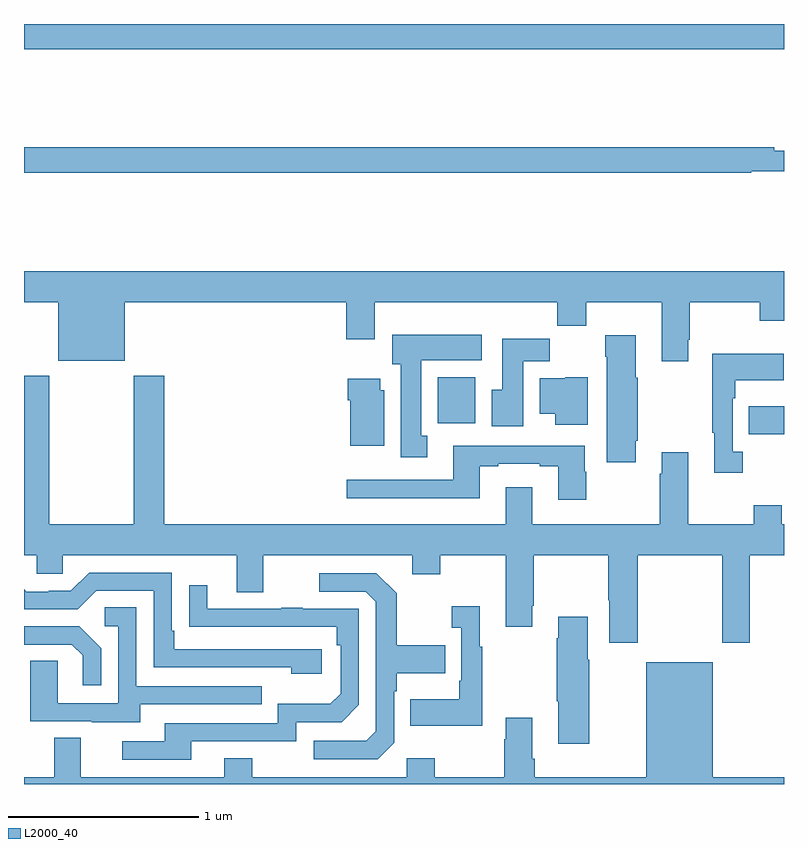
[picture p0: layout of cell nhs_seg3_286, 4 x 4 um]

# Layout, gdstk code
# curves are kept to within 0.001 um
import gdstk
lib = gdstk.Library(unit=1e-6, precision=1e-09)
def R(c, l, rs):  # rectangles x0, y0, x1, y1
    for r in rs: c.add(gdstk.rectangle(r[:2], r[2:], *l))
def P(c, l, *ps):  # polygons
    for p in ps: c.add(gdstk.Polygon(p, *l))
L2000_40 = (2000, 40)

nhs_seg3_286 = lib.new_cell('nhs_seg3_286')
R(nhs_seg3_286, L2000_40, [(128.815,680.242,129,680.389), (127.178,680.3,127.375,680.542), (125,682.268,129,682.4)])
P(nhs_seg3_286, L2000_40, [(128.828,681.624),(129,681.624),(129,681.733),(128.948,681.733),(128.948,681.752),(125,681.752),(125,681.616),(128.828,681.616)],
  [(128.497,680.737),(128.505,680.737),(128.505,680.936),(128.872,680.936),(128.872,680.837),(129,680.837),(129,681.1),(125,681.1),(125,680.936),(125.18,680.936),(125.18,680.627),(125.53,680.627),(125.53,680.936),(126.695,680.936),(126.695,680.742),(126.847,680.742),(126.847,680.936),(127.807,680.936),(127.807,680.812),(127.959,680.812),(127.959,680.936),(128.357,680.936),(128.357,680.625),(128.497,680.625)],
  [(127.123,680.234),(127.09,680.234),(127.09,680.63),(127.408,680.63),(127.408,680.764),(126.938,680.764),(126.938,680.61),(126.983,680.61),(126.983,680.121),(127.123,680.121)],
  [(128.221,680.206),(128.229,680.206),(128.229,680.537),(128.221,680.537),(128.221,680.761),(128.059,680.761),(128.059,680.648),(128.066,680.648),(128.066,680.094),(128.221,680.094)],
  [(127.627,680.624),(127.766,680.624),(127.766,680.743),(127.517,680.743),(127.517,680.476),(127.463,680.476),(127.463,680.283),(127.627,680.283)],
  [(128.782,680.15),(128.73,680.15),(128.73,680.429),(128.743,680.429),(128.743,680.525),(128.999,680.525),(128.999,680.665),(128.622,680.665),(128.622,680.249),(128.633,680.249),(128.633,680.037),(128.782,680.037)],
  [(128.229,679.604),(128.674,679.604),(128.674,679.143),(128.821,679.143),(128.821,679.604),(129,679.604),(129,679.768),(128.989,679.768),(128.989,679.867),(128.842,679.867),(128.842,679.768),(128.497,679.768),(128.497,680.146),(128.357,680.146),(128.357,680.033),(128.345,680.033),(128.345,679.768),(127.675,679.768),(127.675,679.963),(127.535,679.963),(127.535,679.768),(125.738,679.768),(125.738,680.548),(125.578,680.548),(125.578,679.768),(125.133,679.768),(125.133,680.548),(125,680.548),(125,679.604),(125.067,679.604),(125.067,679.506),(125.205,679.506),(125.205,679.604),(126.119,679.604),(126.119,679.41),(126.259,679.41),(126.259,679.604),(127.043,679.604),(127.043,679.505),(127.191,679.505),(127.191,679.604),(127.535,679.604),(127.535,679.227),(127.675,679.227),(127.675,679.339),(127.683,679.339),(127.683,679.604),(128.074,679.604),(128.074,679.366),(128.081,679.366),(128.081,679.143),(128.229,679.143)],
  [(127.966,680.542),(127.848,680.542),(127.848,680.536),(127.715,680.536),(127.715,680.348),(127.796,680.348),(127.796,680.291),(127.966,680.291)],
  [(126.895,680.472),(126.874,680.472),(126.874,680.533),(126.704,680.533),(126.704,680.42),(126.716,680.42),(126.716,680.18),(126.895,680.18)],
  [(127.959,680.043),(127.951,680.043),(127.951,680.181),(127.259,680.181),(127.259,680.001),(126.699,680.001),(126.699,679.904),(127.399,679.904),(127.399,680.073),(127.495,680.073),(127.495,680.085),(127.715,680.085),(127.715,680.073),(127.811,680.073),(127.811,679.896),(127.959,679.896)],
  [(126.568,679.11),(125.791,679.11),(125.791,679.207),(125.778,679.207),(125.778,679.512),(125.343,679.512),(125.247,679.416),(125.129,679.416),(125.129,679.413),(125.013,679.413),(125,679.426),(125,679.32),(125.283,679.32),(125.379,679.416),(125.682,679.416),(125.682,679.014),(126.407,679.014),(126.407,678.98),(126.568,678.98)],
  [(126.948,678.618),(126.948,678.887),(126.961,678.887),(126.961,678.983),(127.217,678.983),(127.217,679.131),(126.961,679.131),(126.961,679.403),(126.855,679.509),(126.555,679.509),(126.555,679.413),(126.798,679.413),(126.852,679.359),(126.852,678.678),(126.801,678.627),(126.525,678.627),(126.525,678.531),(126.861,678.531)],
  [(125.881,678.624),(126.432,678.624),(126.432,678.726),(126.672,678.726),(126.762,678.816),(126.762,679.323),(126.467,679.323),(126.467,679.328),(126.355,679.328),(126.355,679.323),(125.965,679.323),(125.965,679.447),(125.869,679.447),(125.869,679.228),(126.646,679.227),(126.646,679.13),(126.666,679.13),(126.666,678.876),(126.613,678.823),(126.336,678.823),(126.336,678.72),(125.741,678.72),(125.741,678.624),(125.517,678.624),(125.517,678.528),(125.881,678.528)],
  [(127.411,679.123),(127.399,679.123),(127.399,679.336),(127.251,679.336),(127.251,679.223),(127.302,679.223),(127.302,678.943),(127.29,678.943),(127.29,678.847),(127.033,678.847),(127.033,678.707),(127.411,678.707)],
  [(125.611,678.819),(126.251,678.819),(126.251,678.915),(125.592,678.915),(125.592,679.331),(125.424,679.331),(125.424,679.23),(125.496,679.23),(125.496,678.825),(125.178,678.825),(125.178,679.049),(125.033,679.049),(125.033,678.729),(125.357,678.729),(125.357,678.725),(125.611,678.725)],
  [(127.974,679.055),(127.966,679.055),(127.966,679.279),(127.811,679.279),(127.811,679.166),(127.804,679.166),(127.804,678.835),(127.811,678.835),(127.811,678.612),(127.974,678.612)],
  [(125.406,679.114),(125.29,679.23),(125,679.23),(125,679.134),(125.252,679.134),(125.309,679.077),(125.309,678.921),(125.406,678.921)],
  [(129,678.436),(128.626,678.436),(128.626,679.042),(128.276,679.042),(128.276,678.436),(127.688,678.436),(127.688,678.532),(127.675,678.532),(127.675,678.748),(127.535,678.748),(127.535,678.635),(127.528,678.635),(127.528,678.436),(127.161,678.436),(127.161,678.535),(127.014,678.535),(127.014,678.436),(126.201,678.436),(126.201,678.535),(126.053,678.535),(126.053,678.436),(125.299,678.436),(125.299,678.644),(125.159,678.644),(125.159,678.436),(125,678.436),(125,678.4),(129,678.4)])

lib.write_gds('nhs_seg3_286.gds')
